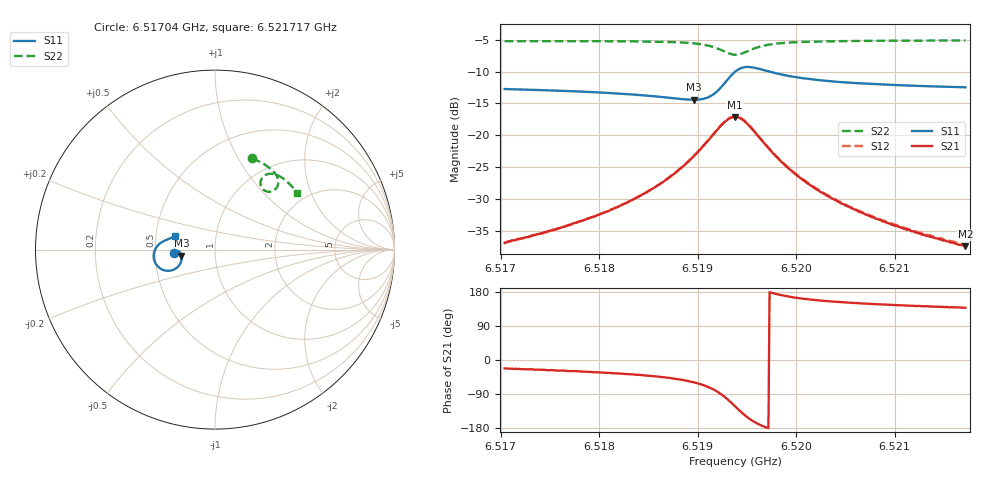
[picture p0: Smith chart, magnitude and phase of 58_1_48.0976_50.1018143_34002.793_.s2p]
#  HZ  S  RI  R  50.00
! Rohde & Schwarz Vector Network Analyzer
! Rohde-Schwarz,ZNB20-2Port,1311601062101988,3.16
! Created: UTC 12/23/2023, 3:40:28 AM
! freq[Hz]  re:S11  im:S11  re:S21  im:S21  re:S12  im:S12  re:S22  im:S22
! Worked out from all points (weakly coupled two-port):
!   401 points, 6.51704 GHz to 6.521717 GHz, reference 50 ohm
!   highest |S21| = -17.12 dB at 6.519378 GHz (marker M1); lowest = -37.4 dB at 6.521717 GHz (marker M2)
!   lowest |S11| = -14.4 dB at 6.518957 GHz (marker M3), VSWR 1.47, Z = 34.2 - j2.46 ohm
!   |S11| at or under -10 dB: start of sweep to 6.51938 GHz; 6.519729 GHz to end of sweep
!   |S22| runs from -7.3 to -5.1 dB; largest |S21 - S12| = 0.0042
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6.5170396e9  -0.2303 -0.0166  0.0132 -0.00541  0.0134 -0.00495  0.2067 0.5083
6.5175191e9  -0.2246 -0.00971  0.0159 -0.00804  0.0161 -0.0076  0.2419 0.4926
6.5178231e9  -0.2202 -0.00631  0.0184 -0.0107  0.0186 -0.0102  0.2645 0.4809
6.5182792e9  -0.2108 -0.00475  0.0234 -0.0178  0.0241 -0.0171  0.299 0.459
6.5186066e9  -0.2007 -0.00934  0.0293 -0.0284  0.0304 -0.0276  0.3243 0.4368
6.5187937e9  -0.1932 -0.0182  0.0334 -0.0402  0.0348 -0.0394  0.3389 0.4187
6.5189575e9  -0.187 -0.0347  0.0354 -0.0582  0.0375 -0.0574  0.3498 0.3958
6.5190744e9  -0.1866 -0.0564  0.0321 -0.079  0.0346 -0.0786  0.3526 0.3724
6.5191563e9  -0.1938 -0.078  0.0224 -0.0987  0.0254 -0.0988  0.3473 0.3519
6.5192849e9  -0.237 -0.1145  -0.0219 -0.1274  -0.0184 -0.1292  0.3137 0.3234
6.5193317e9  -0.2652 -0.1183  -0.0478 -0.128  -0.0446 -0.1303  0.2934 0.3227
6.5193784e9  -0.2953 -0.1106  -0.0739 -0.1181  -0.0712 -0.1211  0.2732 0.3313
6.5194252e9  -0.3206 -0.0919  -0.0944 -0.0989  -0.0923 -0.1023  0.259 0.3475
6.5194837e9  -0.3383 -0.0601  -0.1066 -0.0694  -0.1056 -0.0729  0.2535 0.3721
6.5195772e9  -0.3389 -0.014  -0.102 -0.0297  -0.1021 -0.0328  0.2654 0.4029
6.5196825e9  -0.323 0.0178  -0.0849 -0.00507  -0.0855 -0.00736  0.2884 0.4188
6.5199047e9  -0.2911 0.0445  -0.0552 0.0116  -0.0562 0.01  0.3285 0.4211
6.520162e9  -0.2694 0.0545  -0.0369 0.0141  -0.0378 0.0132  0.359 0.4093
6.5205128e9  -0.2525 0.0614  -0.0245 0.0131  -0.0253 0.0127  0.3884 0.3896
6.5209455e9  -0.24 0.0677  -0.0167 0.0114  -0.0173 0.0111  0.4166 0.3639
6.5214249e9  -0.2301 0.0744  -0.012 0.00982  -0.0124 0.00977  0.443 0.3349
6.5217173e9  -0.225 0.0783  -0.00994 0.00905  -0.0106 0.009  0.4572 0.3167
